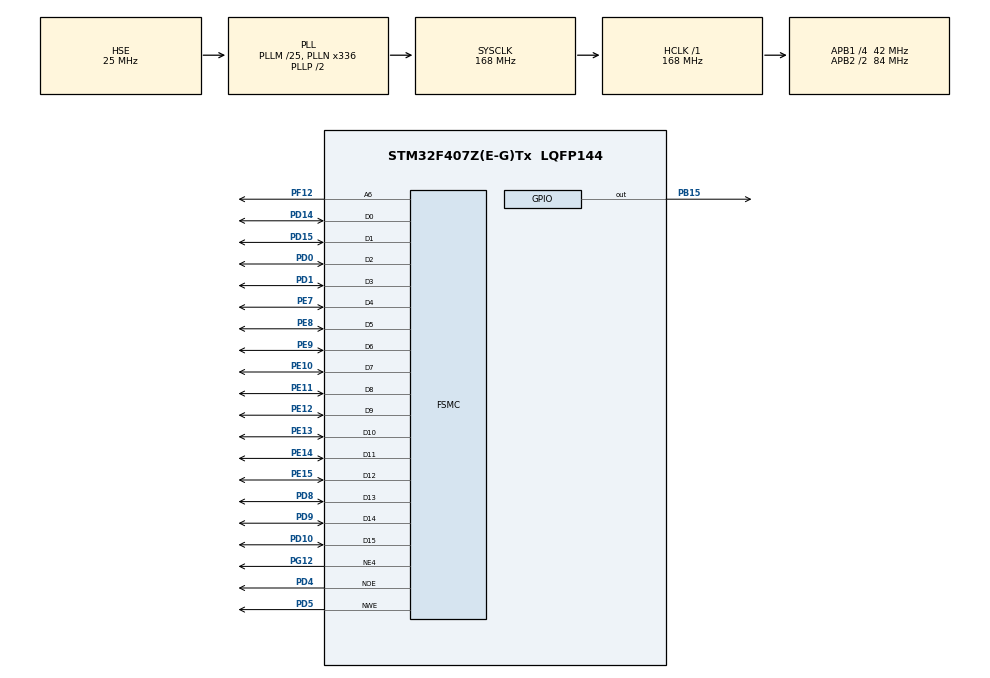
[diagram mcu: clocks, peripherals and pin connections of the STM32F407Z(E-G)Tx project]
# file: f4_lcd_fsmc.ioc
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FSMC.AddressSetupTime1=15
FSMC.BusTurnAroundDuration1=15
FSMC.DataSetupTime1=60
FSMC.ExtendedAddressSetupTime1=8
FSMC.ExtendedBusTurnAroundDuration1=15
FSMC.ExtendedDataSetupTime1=60
FSMC.ExtendedMode1=FSMC_EXTENDED_MODE_ENABLE
Mcu.Family=STM32F4
Mcu.Name=STM32F407Z(E-G)Tx
Mcu.Package=LQFP144
NVIC.PriorityGroup=NVIC_PRIORITYGROUP_4
PB15.PinState=GPIO_PIN_SET
PB15.Signal=GPIO_Output
PD0.GPIO_PuPd=GPIO_PULLUP
PD0.Signal=FSMC_D2_DA2
PD1.GPIO_PuPd=GPIO_PULLUP
PD1.Signal=FSMC_D3_DA3
PD10.GPIO_PuPd=GPIO_PULLUP
PD10.Signal=FSMC_D15_DA15
PD14.GPIO_PuPd=GPIO_PULLUP
PD14.Signal=FSMC_D0_DA0
PD15.GPIO_PuPd=GPIO_PULLUP
PD15.Signal=FSMC_D1_DA1
PD4.GPIO_PuPd=GPIO_PULLUP
PD4.Signal=FSMC_NOE
PD5.GPIO_PuPd=GPIO_PULLUP
PD5.Signal=FSMC_NWE
PD8.GPIO_PuPd=GPIO_PULLUP
PD8.Signal=FSMC_D13_DA13
PD9.GPIO_PuPd=GPIO_PULLUP
PD9.Signal=FSMC_D14_DA14
PE10.GPIO_PuPd=GPIO_PULLUP
PE10.Signal=FSMC_D7_DA7
PE11.GPIO_PuPd=GPIO_PULLUP
PE11.Signal=FSMC_D8_DA8
PE12.GPIO_PuPd=GPIO_PULLUP
PE12.Signal=FSMC_D9_DA9
PE13.GPIO_PuPd=GPIO_PULLUP
PE13.Signal=FSMC_D10_DA10
PE14.GPIO_PuPd=GPIO_PULLUP
PE14.Signal=FSMC_D11_DA11
PE15.GPIO_PuPd=GPIO_PULLUP
PE15.Signal=FSMC_D12_DA12
PE7.GPIO_PuPd=GPIO_PULLUP
PE7.Signal=FSMC_D4_DA4
PE8.GPIO_PuPd=GPIO_PULLUP
PE8.Signal=FSMC_D5_DA5
PE9.GPIO_PuPd=GPIO_PULLUP
PE9.Signal=FSMC_D6_DA6
PF12.GPIO_PuPd=GPIO_PULLUP
PF12.Signal=FSMC_A6
PG12.GPIO_PuPd=GPIO_PULLUP
PG12.Mode=NorPsramChipSelect4_1
PG12.Signal=FSMC_NE4
PH0-OSC_IN.Mode=HSE-External-Oscillator
PH0-OSC_IN.Signal=RCC_OSC_IN
PH1-OSC_OUT.Mode=HSE-External-Oscillator
PH1-OSC_OUT.Signal=RCC_OSC_OUT
ProjectManager.HeapSize=0x200
ProjectManager.StackSize=0x400
ProjectManager.TargetToolchain=MDK-ARM V5.32
RCC.48MHZClocksFreq_Value=84000000
RCC.AHBFreq_Value=168000000
RCC.APB1CLKDivider=RCC_HCLK_DIV4
RCC.APB1Freq_Value=42000000
RCC.APB1TimFreq_Value=84000000
RCC.APB2CLKDivider=RCC_HCLK_DIV2
RCC.APB2Freq_Value=84000000
RCC.APB2TimFreq_Value=168000000
RCC.CortexFreq_Value=168000000
RCC.HCLKFreq_Value=168000000
RCC.HSE_VALUE=25000000
RCC.HSI_VALUE=16000000
RCC.LSE_VALUE=32768
RCC.PLLM=25
RCC.PLLN=336
RCC.PLLSourceVirtual=RCC_PLLSOURCE_HSE
RCC.SYSCLKFreq_VALUE=168000000
RCC.SYSCLKSource=RCC_SYSCLKSOURCE_PLLCLK
RCC.VCOOutputFreq_Value=336000000
SH.FSMC_A6.0=FSMC_A6,A6_1
SH.FSMC_D0_DA0.0=FSMC_D0,16b-d1
SH.FSMC_D10_DA10.0=FSMC_D10,16b-d1
SH.FSMC_D11_DA11.0=FSMC_D11,16b-d1
SH.FSMC_D12_DA12.0=FSMC_D12,16b-d1
SH.FSMC_D13_DA13.0=FSMC_D13,16b-d1
SH.FSMC_D14_DA14.0=FSMC_D14,16b-d1
SH.FSMC_D15_DA15.0=FSMC_D15,16b-d1
SH.FSMC_D1_DA1.0=FSMC_D1,16b-d1
SH.FSMC_D2_DA2.0=FSMC_D2,16b-d1
SH.FSMC_D3_DA3.0=FSMC_D3,16b-d1
SH.FSMC_D4_DA4.0=FSMC_D4,16b-d1
SH.FSMC_D5_DA5.0=FSMC_D5,16b-d1
SH.FSMC_D6_DA6.0=FSMC_D6,16b-d1
SH.FSMC_D7_DA7.0=FSMC_D7,16b-d1
SH.FSMC_D8_DA8.0=FSMC_D8,16b-d1
SH.FSMC_D9_DA9.0=FSMC_D9,16b-d1
SH.FSMC_NOE.0=FSMC_NOE,Lcd1
SH.FSMC_NWE.0=FSMC_NWE,Lcd1
board=custom

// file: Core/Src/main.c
/* USER CODE BEGIN Header */
/**
 ******************************************************************************
 * @file           : main.c
 * @brief          : Main program body
 ******************************************************************************
 * @attention
 *
 * Copyright (c) 2024 STMicroelectronics.
 * All rights reserved.
 *
 * This software is licensed under terms that can be found in the LICENSE file
 * in the root directory of this software component.
 * If no LICENSE file comes with this software, it is provided AS-IS.
 *
 ******************************************************************************
 */
/* USER CODE END Header */
#include "main.h"
#include "gpio.h"
#include "fsmc.h"

/* USER CODE BEGIN Includes */
#include "3.2_LCD.h"
/* USER CODE END Includes */

/* USER CODE BEGIN PV */
uint16_t color[60];
/* USER CODE END PV */

void SystemClock_Config(void);

/* USER CODE BEGIN 0 */
uint32_t test;
/* USER CODE END 0 */

int main(void)
{

  /* MCU Configuration--------------------------------------------------------*/

  /* Reset of all peripherals, Initializes the Flash interface and the Systick. */
  HAL_Init();

  /* Configure the system clock */
  SystemClock_Config();

  /* Initialize all configured peripherals */
  MX_GPIO_Init();
  MX_FSMC_Init();
  /* USER CODE BEGIN 2 */
  for (uint32_t i = 0; i < 10; i++)
  {
    color[i] = DARKBLUE;
  }
  for (uint32_t i = 10; i < 20; i++)
  {
    color[i] = BLACK;
  }
  for (uint32_t i = 20; i < 30; i++)
  {
    color[i] = RED;
  }
  for (uint32_t i = 30; i < 40; i++)
  {
    color[i] = GRAYBLUE;
  }
  for (uint32_t i = 40; i < 50; i++)
  {
    color[i] = BRRED;
  }
  for (uint32_t i = 50; i < 60; i++)
  {
    color[i] = MAGENTA;
  }
  LCD_Init(WHITE, 2);
  LCD_Draw_Circle(100, 100, 90, color, 60);
  /* USER CODE END 2 */

  /* Infinite loop */
  while (1)
  {

  }
}

void SystemClock_Config(void)
{
  RCC_OscInitTypeDef RCC_OscInitStruct = {0};
  RCC_ClkInitTypeDef RCC_ClkInitStruct = {0};

  /** Configure the main internal regulator output voltage
   */
  __HAL_RCC_PWR_CLK_ENABLE();
  __HAL_PWR_VOLTAGESCALING_CONFIG(PWR_REGULATOR_VOLTAGE_SCALE1);

  /** Initializes the RCC Oscillators according to the specified parameters
   * in the RCC_OscInitTypeDef structure.
   */
  RCC_OscInitStruct.OscillatorType = RCC_OSCILLATORTYPE_HSE;
  RCC_OscInitStruct.HSEState = RCC_HSE_ON;
  RCC_OscInitStruct.PLL.PLLState = RCC_PLL_ON;
  RCC_OscInitStruct.PLL.PLLSource = RCC_PLLSOURCE_HSE;
  RCC_OscInitStruct.PLL.PLLM = 25;
  RCC_OscInitStruct.PLL.PLLN = 336;
  RCC_OscInitStruct.PLL.PLLP = RCC_PLLP_DIV2;
  RCC_OscInitStruct.PLL.PLLQ = 4;
  if (HAL_RCC_OscConfig(&RCC_OscInitStruct) != HAL_OK)
  {
    Error_Handler();
  }

  /** Initializes the CPU, AHB and APB buses clocks
   */
  RCC_ClkInitStruct.ClockType = RCC_CLOCKTYPE_HCLK | RCC_CLOCKTYPE_SYSCLK | RCC_CLOCKTYPE_PCLK1 | RCC_CLOCKTYPE_PCLK2;
  RCC_ClkInitStruct.SYSCLKSource = RCC_SYSCLKSOURCE_PLLCLK;
  RCC_ClkInitStruct.AHBCLKDivider = RCC_SYSCLK_DIV1;
  RCC_ClkInitStruct.APB1CLKDivider = RCC_HCLK_DIV4;
  RCC_ClkInitStruct.APB2CLKDivider = RCC_HCLK_DIV2;

  if (HAL_RCC_ClockConfig(&RCC_ClkInitStruct, FLASH_LATENCY_5) != HAL_OK)
  {
    Error_Handler();
  }
}

void Error_Handler(void)
{
  __disable_irq();
  while (1)
  {
  }
}
